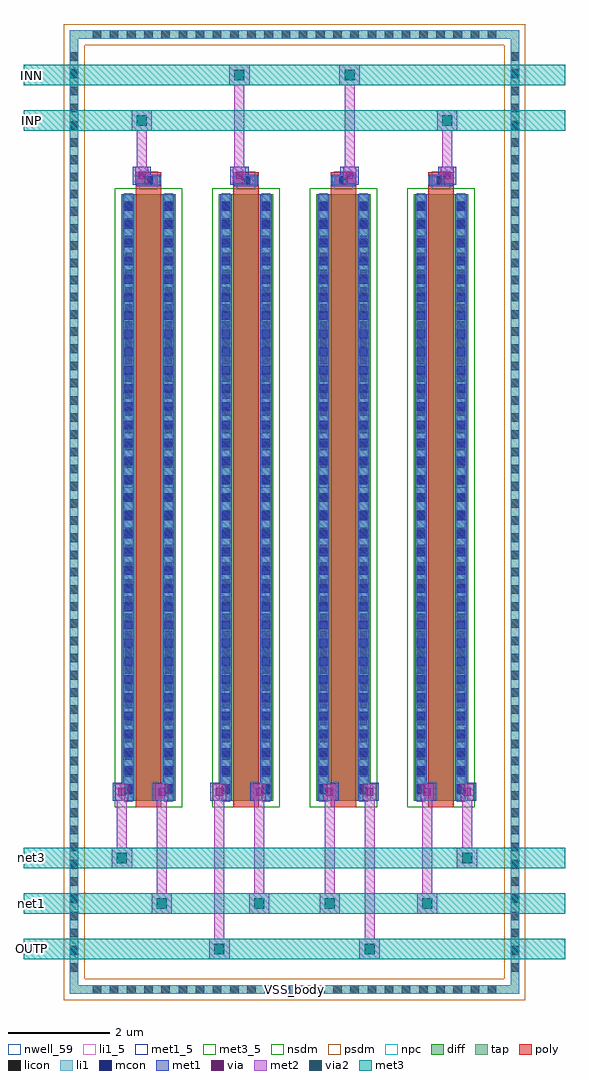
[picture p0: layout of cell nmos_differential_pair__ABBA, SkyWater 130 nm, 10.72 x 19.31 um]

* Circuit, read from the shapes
.subckt nmos_differential_pair__ABBA INN INP OUTP VSS_body net1 net3
XM1 net1 INP net3 VSS_body sky130_fd_pr__nfet_01v8 w=12 l=0.5 m=2
XM2 net1 INN OUTP VSS_body sky130_fd_pr__nfet_01v8 w=12 l=0.5 m=2
.ends

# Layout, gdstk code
from math import pi, radians
import gdstk
lib = gdstk.Library(unit=1e-6, precision=1e-09)
def R(c, l, rs):  # rectangles x0, y0, x1, y1
    for r in rs: c.add(gdstk.rectangle(r[:2], r[2:], *l))
def A(c, l, x, y, w, h, nx, ny, dx, dy):  # array of equal rectangles
    R(c, l, [(x+i*dx, y+j*dy, x+i*dx+w, y+j*dy+h) for i in range(nx) for j in range(ny)])
nwell_59 = (64, 59)
diff = (65, 20)
tap = (65, 44)
poly = (66, 20)
licon = (66, 44)
li1_5 = (67, 5)
li1 = (67, 20)
mcon = (67, 44)
met1_5 = (68, 5)
met1 = (68, 20)
via = (68, 44)
met2 = (69, 20)
via2 = (69, 44)
met3_5 = (70, 5)
met3 = (70, 20)
nsdm = (93, 44)
psdm = (94, 20)
npc = (95, 20)

sky130_fd_pr__nfet_01v8_ = lib.new_cell('sky130_fd_pr__nfet_01v8_P7JZK5')
R(sky130_fd_pr__nfet_01v8_, diff, [(-0.54,-6.155,0.54,5.845)])
R(sky130_fd_pr__nfet_01v8_, poly, [(-0.25,-6.285,0.25,6.285)])
A(sky130_fd_pr__nfet_01v8_, licon, -0.48, -6.02, 0.17, 0.17, 1, 35, 0, 0.34)
A(sky130_fd_pr__nfet_01v8_, licon, 0.31, -6.02, 0.17, 0.17, 1, 35, 0, 0.34)
R(sky130_fd_pr__nfet_01v8_, licon, [(-0.085,6.035,0.085,6.205)])
R(sky130_fd_pr__nfet_01v8_, li1, [(-0.48,-6.175,-0.31,5.865), (0.31,-6.175,0.48,5.865), (-0.25,6.035,0.25,6.205)])
A(sky130_fd_pr__nfet_01v8_, mcon, -0.48, -6, 0.17, 0.17, 1, 33, 0, 0.36)
A(sky130_fd_pr__nfet_01v8_, mcon, 0.31, -6, 0.17, 0.17, 1, 33, 0, 0.36)
R(sky130_fd_pr__nfet_01v8_, mcon, [(-0.085,6.035,0.085,6.205)])
R(sky130_fd_pr__nfet_01v8_, met1, [(-0.51,-6.155,-0.28,5.845), (0.28,-6.155,0.51,5.845), (-0.23,6.005,0.23,6.235)])
R(sky130_fd_pr__nfet_01v8_, nsdm, [(-0.665,-6.28,0.665,5.97)])
R(sky130_fd_pr__nfet_01v8_, npc, [(-0.185,5.935,0.185,6.305)])
sky130_fd_pr__nfet_01v8_.add(gdstk.Label('D', (-0.395,-0.155), layer=67, texttype=5))
sky130_fd_pr__nfet_01v8_.add(gdstk.Label('S', (0.395,-0.155), layer=67, texttype=5))
sky130_fd_pr__nfet_01v8_.add(gdstk.Label('G', (0,6.12), layer=67, texttype=5))

nfet_01v8_w12_l0p5_m1__n = lib.new_cell('nfet_01v8_W12_L0p5_m1__nf1_gtop_sdfull_ng')
R(nfet_01v8_w12_l0p5_m1__n, nwell_59, [(0.05,6.08,0.15,6.18)])
R(nfet_01v8_w12_l0p5_m1__n, met1_5, [(0.03,6.13,0.26,6.33), (0.82,6.13,1.05,6.33), (0.31,12.29,0.77,12.52)])
R(nfet_01v8_w12_l0p5_m1__n, met1, [(0.03,6.13,0.26,6.33), (0.82,6.13,1.05,6.33), (0.31,12.29,0.77,12.52)])
nfet_01v8_w12_l0p5_m1__n.add(gdstk.Reference(sky130_fd_pr__nfet_01v8_, (0.54,6.285)))
nfet_01v8_w12_l0p5_m1__n.add(gdstk.Label('D', (0.145,6.23), layer=68, texttype=5))
nfet_01v8_w12_l0p5_m1__n.add(gdstk.Label('S', (0.935,6.23), layer=68, texttype=5))
nfet_01v8_w12_l0p5_m1__n.add(gdstk.Label('G', (0.54,12.405), layer=68, texttype=5))
nfet_01v8_w12_l0p5_m1__n.add(gdstk.Label('B', (0.1,6.13), layer=64, texttype=59))

nmos_differential_pair__ = lib.new_cell('nmos_differential_pair__ABBA')
R(nmos_differential_pair__, tap, [(-0.885,-3.685,8.005,-3.515), (-0.885,-3.515,-0.715,15.205), (7.835,-3.515,8.005,15.205), (-0.885,15.205,8.005,15.375)])
A(nmos_differential_pair__, licon, -0.435, -3.685, 0.17, 0.17, 24, 2, 0.34, 18.89)
A(nmos_differential_pair__, licon, -0.885, -3.25, 0.17, 0.17, 1, 54, 0, 0.34)
A(nmos_differential_pair__, licon, 7.835, -3.25, 0.17, 0.17, 1, 54, 0, 0.34)
R(nmos_differential_pair__, li1_5, [(3.51,-3.65,3.61,-3.55)])
R(nmos_differential_pair__, li1, [(-0.885,-3.685,8.005,-3.515), (-0.885,-3.515,-0.715,15.205), (7.835,-3.515,8.005,15.205), (-0.885,15.205,8.005,15.375)])
R(nmos_differential_pair__, met1, [(-0.035,0.13,0.325,0.49), (0.755,0.13,1.115,0.49), (1.895,0.13,2.255,0.49), (2.685,0.13,3.045,0.49), (4.075,0.13,4.435,0.49), (4.865,0.13,5.225,0.49), (6.005,0.13,6.365,0.49), (6.795,0.13,7.155,0.49), (0.36,12.32,0.72,12.68), (2.29,12.32,2.65,12.68), (4.47,12.32,4.83,12.68), (6.4,12.32,6.76,12.68)])
R(nmos_differential_pair__, via, [(0.07,0.235,0.22,0.385), (0.86,0.235,1.01,0.385), (2,0.235,2.15,0.385), (2.79,0.235,2.94,0.385), (4.18,0.235,4.33,0.385), (4.97,0.235,5.12,0.385), (6.11,0.235,6.26,0.385), (6.9,0.235,7.05,0.385), (0.465,12.425,0.615,12.575), (2.395,12.425,2.545,12.575), (4.575,12.425,4.725,12.575), (6.505,12.425,6.655,12.575)])
R(nmos_differential_pair__, met2, [(1.875,-3,2.275,-2.6), (4.845,-3,5.245,-2.6), (1.975,-2.6,2.175,0.15), (4.945,-2.6,5.145,0.15), (0.735,-2.1,1.135,-1.7), (2.665,-2.1,3.065,-1.7), (4.055,-2.1,4.455,-1.7), (5.985,-2.1,6.385,-1.7), (0.835,-1.7,1.035,0.15), (2.765,-1.7,2.965,0.15), (4.155,-1.7,4.355,0.15), (6.085,-1.7,6.285,0.15), (-0.055,-1.2,0.345,-0.8), (6.775,-1.2,7.175,-0.8), (0.045,-0.8,0.245,0.15), (6.875,-0.8,7.075,0.15), (0.015,0.15,0.275,0.47), (0.805,0.15,1.065,0.47), (1.945,0.15,2.205,0.47), (2.735,0.15,2.995,0.47), (4.125,0.15,4.385,0.47), (4.915,0.15,5.175,0.47), (6.055,0.15,6.315,0.47), (6.845,0.15,7.105,0.47), (0.41,12.34,0.67,12.66), (2.34,12.34,2.6,12.66), (4.52,12.34,4.78,12.66), (6.45,12.34,6.71,12.66), (0.44,12.66,0.64,13.39), (2.37,12.66,2.57,14.29), (4.55,12.66,4.75,14.29), (6.48,12.66,6.68,13.39), (0.34,13.39,0.74,13.79), (6.38,13.39,6.78,13.79), (2.27,14.29,2.67,14.69), (4.45,14.29,4.85,14.69)])
R(nmos_differential_pair__, via2, [(1.975,-2.9,2.175,-2.7), (4.945,-2.9,5.145,-2.7), (0.835,-2,1.035,-1.8), (2.765,-2,2.965,-1.8), (4.155,-2,4.355,-1.8), (6.085,-2,6.285,-1.8), (0.045,-1.1,0.245,-0.9), (6.875,-1.1,7.075,-0.9), (0.44,13.49,0.64,13.69), (6.48,13.49,6.68,13.69), (2.37,14.39,2.57,14.59), (4.55,14.39,4.75,14.59)])
A(nmos_differential_pair__, met3_5, -1.7, -2.85, 0.1, 0.1, 1, 3, 0, 0.9)
R(nmos_differential_pair__, met3_5, [(-1.7,13.54,-1.6,13.64), (-1.7,14.44,-1.6,14.54)])
A(nmos_differential_pair__, met3, -1.8, -3, 10.72, 0.4, 1, 3, 0, 0.9)
R(nmos_differential_pair__, met3, [(-1.8,13.39,8.92,13.79), (-1.8,14.29,8.92,14.69)])
R(nmos_differential_pair__, psdm, [(-1.01,-3.81,8.13,-3.39), (-1.01,-3.39,-0.59,15.08), (7.71,-3.39,8.13,15.08), (-1.01,15.08,8.13,15.5)])
nmos_differential_pair__.add(gdstk.Reference(nfet_01v8_w12_l0p5_m1__n, (7,0), rotation=pi, x_reflection=True))
nmos_differential_pair__.add(gdstk.Reference(nfet_01v8_w12_l0p5_m1__n, (5.07,0), rotation=pi, x_reflection=True))
nmos_differential_pair__.add(gdstk.Reference(nfet_01v8_w12_l0p5_m1__n, (2.06,0)))
nmos_differential_pair__.add(gdstk.Reference(nfet_01v8_w12_l0p5_m1__n, (0.13,0)))
nmos_differential_pair__.add(gdstk.Label('INP', (-1.65,13.59), layer=70, texttype=5))
nmos_differential_pair__.add(gdstk.Label('INN', (-1.65,14.49), layer=70, texttype=5))
nmos_differential_pair__.add(gdstk.Label('net3', (-1.65,-1), layer=70, texttype=5))
nmos_differential_pair__.add(gdstk.Label('net1', (-1.65,-1.9), layer=70, texttype=5))
nmos_differential_pair__.add(gdstk.Label('OUTP', (-1.65,-2.8), layer=70, texttype=5))
nmos_differential_pair__.add(gdstk.Label('VSS_body', (3.56,-3.6), layer=67, texttype=5))

lib.write_gds('nmos_differential_pair__ABBA.gds')
